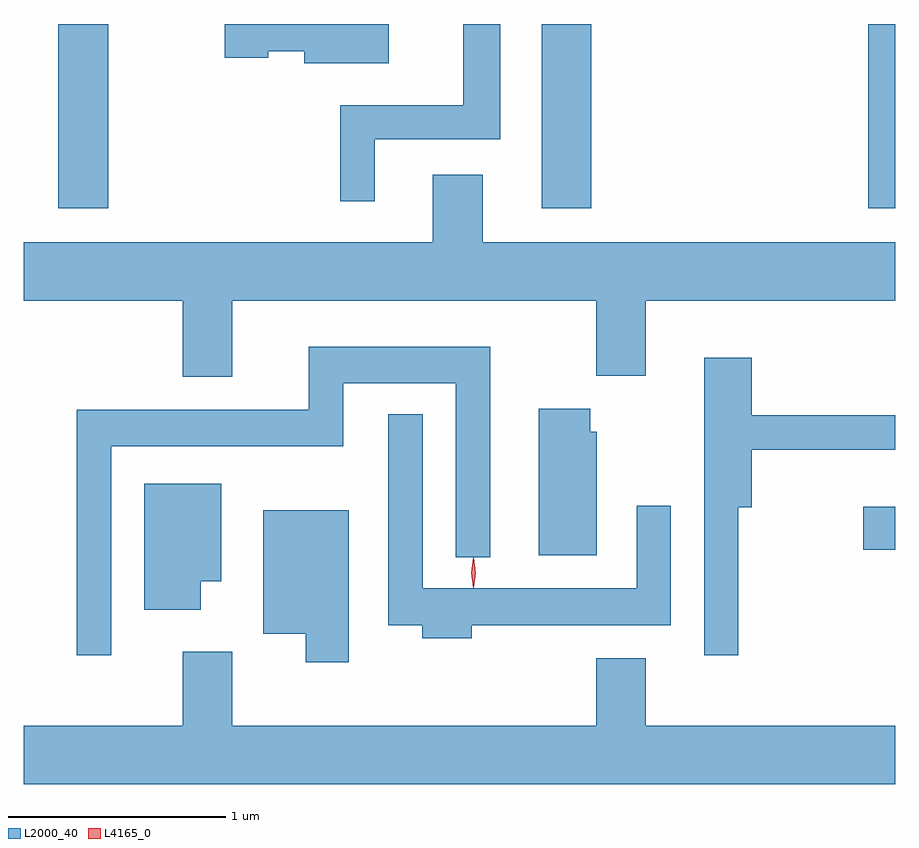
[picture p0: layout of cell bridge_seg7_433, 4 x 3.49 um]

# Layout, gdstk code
import gdstk
lib = gdstk.Library(unit=1e-6, precision=1e-09)
def R(c, l, rs):  # rectangles x0, y0, x1, y1
    for r in rs: c.add(gdstk.rectangle(r[:2], r[2:], *l))
def P(c, l, *ps):  # polygons
    for p in ps: c.add(gdstk.Polygon(p, *l))
L2000_40 = (2000, 40)
L4165_0 = (4165, 0)

bridge_seg7_433 = lib.new_cell('bridge_seg7_433')
R(bridge_seg7_433, L2000_40, [(1200.576,1722.051,1200.723,1722.249), (1196.881,1723.621,1197.109,1724.466), (1199.101,1723.621,1199.329,1724.466), (1200.601,1723.621,1200.723,1724.466)])
P(bridge_seg7_433, L2000_40, [(1198.334,1723.936),(1198.909,1723.936),(1198.909,1724.466),(1198.741,1724.466),(1198.741,1724.094),(1198.176,1724.094),(1198.176,1723.653),(1198.334,1723.653)],
  [(1198.399,1724.466),(1197.646,1724.466),(1197.646,1724.311),(1197.844,1724.311),(1197.844,1724.341),(1198.011,1724.341),(1198.011,1724.286),(1198.399,1724.286)],
  [(1197.679,1723.196),(1199.351,1723.196),(1199.351,1722.851),(1199.579,1722.851),(1199.579,1723.196),(1200.723,1723.196),(1200.723,1723.464),(1198.829,1723.464),(1198.829,1723.774),(1198.601,1723.774),(1198.601,1723.464),(1196.723,1723.464),(1196.723,1723.196),(1197.451,1723.196),(1197.451,1722.846),(1197.679,1722.846)],
  [(1197.124,1722.526),(1198.189,1722.526),(1198.189,1722.816),(1198.706,1722.816),(1198.706,1722.018),(1198.864,1722.018),(1198.864,1722.984),(1198.031,1722.984),(1198.031,1722.694),(1196.966,1722.694),(1196.966,1721.568),(1197.124,1721.568)],
  [(1200.004,1722.246),(1200.064,1722.246),(1200.064,1722.511),(1200.723,1722.511),(1200.723,1722.669),(1200.064,1722.669),(1200.064,1722.934),(1199.846,1722.934),(1199.846,1721.568),(1200.004,1721.568)],
  [(1199.354,1722.594),(1199.324,1722.594),(1199.324,1722.699),(1199.086,1722.699),(1199.086,1722.026),(1199.354,1722.026)],
  [(1198.779,1721.706),(1199.694,1721.706),(1199.694,1722.253),(1199.536,1722.253),(1199.536,1721.874),(1198.554,1721.874),(1198.554,1722.673),(1198.396,1722.673),(1198.396,1721.706),(1198.551,1721.706),(1198.551,1721.646),(1198.779,1721.646)],
  [(1197.534,1721.906),(1197.629,1721.906),(1197.629,1722.354),(1197.276,1722.354),(1197.276,1721.776),(1197.534,1721.776)],
  [(1198.214,1722.234),(1197.821,1722.234),(1197.821,1721.666),(1198.016,1721.666),(1198.016,1721.536),(1198.214,1721.536)],
  [(1200.723,1721.244),(1199.579,1721.244),(1199.579,1721.554),(1199.351,1721.554),(1199.351,1721.244),(1197.679,1721.244),(1197.679,1721.584),(1197.451,1721.584),(1197.451,1721.244),(1196.723,1721.244),(1196.723,1720.976),(1200.723,1720.976)])
P(bridge_seg7_433, L4165_0, [(1198.787,1721.877),(1198.777,1721.947),(1198.787,1722.016),(1198.788,1722.016),(1198.788,1722.016),(1198.798,1721.947),(1198.788,1721.877),(1198.788,1721.877)],
  [(1198.788,1721.879),(1198.787,1721.88),(1198.777,1721.946),(1198.787,1722.013),(1198.788,1722.013),(1198.788,1722.013),(1198.798,1721.946),(1198.788,1721.88)])

lib.write_gds('bridge_seg7_433.gds')
